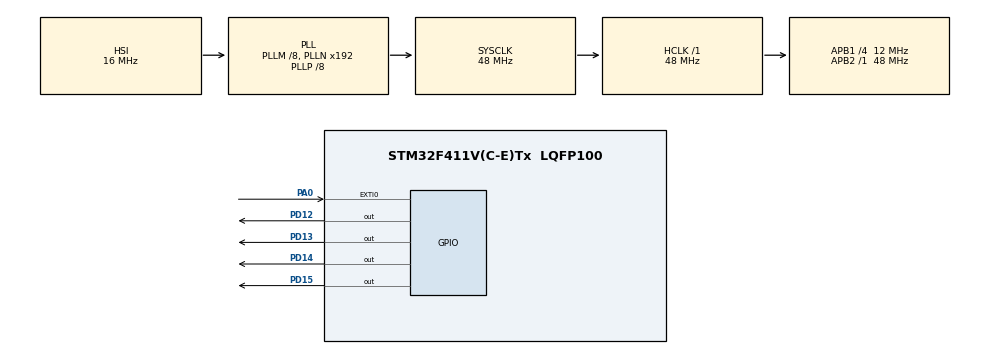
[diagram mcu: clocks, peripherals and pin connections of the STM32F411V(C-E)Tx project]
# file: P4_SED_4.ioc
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Mcu.Family=STM32F4
Mcu.Name=STM32F411V(C-E)Tx
Mcu.Package=LQFP100
NVIC.EXTI0_IRQn=true\:0\:0\:false\:false\:true\:true\:true\:true
NVIC.PriorityGroup=NVIC_PRIORITYGROUP_0
PA0-WKUP.Signal=GPXTI0
PD12.Signal=GPIO_Output
PD13.Signal=GPIO_Output
PD14.Signal=GPIO_Output
PD15.Signal=GPIO_Output
ProjectManager.HeapSize=0x200
ProjectManager.StackSize=0x400
ProjectManager.TargetToolchain=STM32CubeIDE
RCC.48MHZClocksFreq_Value=48000000
RCC.AHBFreq_Value=48000000
RCC.APB1CLKDivider=RCC_HCLK_DIV4
RCC.APB1Freq_Value=12000000
RCC.APB1TimFreq_Value=24000000
RCC.APB2Freq_Value=48000000
RCC.APB2TimFreq_Value=48000000
RCC.CortexFreq_Value=48000000
RCC.HCLKFreq_Value=48000000
RCC.HSE_VALUE=8000000
RCC.HSI_VALUE=16000000
RCC.PLLI2SM=5
RCC.PLLI2SN=200
RCC.PLLM=8
RCC.PLLP=RCC_PLLP_DIV8
RCC.PLLQ=8
RCC.SYSCLKFreq_VALUE=48000000
RCC.SYSCLKSource=RCC_SYSCLKSOURCE_PLLCLK
RCC.VCOOutputFreq_Value=384000000
board=STM32F411E-DISCO

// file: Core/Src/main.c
/* USER CODE BEGIN Header */
/**
  ******************************************************************************
  * @file           : main.c
  * @brief          : Main program body
  ******************************************************************************
  * @attention
  *
  * Copyright (c) 2023 STMicroelectronics.
  * All rights reserved.
  *
  * This software is licensed under terms that can be found in the LICENSE file
  * in the root directory of this software component.
  * If no LICENSE file comes with this software, it is provided AS-IS.
  *
  ******************************************************************************
  */
/* USER CODE END Header */
#include "main.h"

/* USER CODE BEGIN Includes */
#include <stdlib.h>
/* USER CODE END Includes */

void SystemClock_Config(void);
static void MX_GPIO_Init(void);

/* USER CODE BEGIN 0 */
volatile uint32_t contador[5];
volatile uint16_t flagPulsado = 0;
volatile uint32_t contadorAux = 0;
volatile int regionCritica = 1;
volatile uint16_t iteracion = 0;
volatile uint16_t media = 0;
volatile uint32_t suma = 0;

#define DEBOUNCE_DELAY 300

volatile uint32_t pressedTime = 0;

void HAL_GPIO_EXTI_Callback(uint16_t GPIO_Pin){
	if(GPIO_Pin == GPIO_PIN_0 && regionCritica == 0){
		uint32_t currentTime = HAL_GetTick();
		if (currentTime - pressedTime >= DEBOUNCE_DELAY){	//Ha pasado el tiempo de delay establecido
			contador[iteracion] = contadorAux;
			iteracion++;
			flagPulsado = 1;
		}
	}
}
/* USER CODE END 0 */

int main(void)
{

  /* MCU Configuration--------------------------------------------------------*/

  /* Reset of all peripherals, Initializes the Flash interface and the Systick. */
  HAL_Init();

  /* Configure the system clock */
  SystemClock_Config();

  /* Initialize all configured peripherals */
  MX_GPIO_Init();
  /* USER CODE BEGIN 2 */
  uint16_t tiempoEspera;
  /* USER CODE END 2 */

  /* Infinite loop */
  while (1)
  {

    /* USER CODE BEGIN 3 */
	contadorAux = 0;

	HAL_GPIO_WritePin(GPIOD, GPIO_PIN_12, 0);
  	HAL_GPIO_WritePin(GPIOD, GPIO_PIN_13, 0);
  	HAL_GPIO_WritePin(GPIOD, GPIO_PIN_14, 0);
  	HAL_GPIO_WritePin(GPIOD, GPIO_PIN_15, 0);

  	tiempoEspera = rand () % (2000+1) + 2000;
  	uint32_t tiempoAct = HAL_GetTick();

  	while(tiempoAct + tiempoEspera >= HAL_GetTick()){
  		HAL_NVIC_DisableIRQ(EXTI0_IRQn);
  	}
  	HAL_NVIC_EnableIRQ(EXTI0_IRQn);

  	HAL_GPIO_WritePin(GPIOD, GPIO_PIN_12, 1);
  	regionCritica = 0;

  	while (!flagPulsado){
  		if(HAL_GPIO_ReadPin(GPIOD, GPIO_PIN_0)){
  			HAL_GPIO_EXTI_Callback(GPIO_PIN_0);
  		}
  		else
  			contadorAux++;
  	}
  	regionCritica = 1;
  	HAL_GPIO_WritePin(GPIOD, GPIO_PIN_14, 1);
  	HAL_GPIO_WritePin(GPIOD, GPIO_PIN_12, 0);
  	HAL_Delay(5000);
  	flagPulsado = 0;

  	int i;
  	if(iteracion == 5){
  		for(i = 0; i<iteracion; i++){
  			suma += contador[i];
  		}
		media = suma / 5;
	}

  }
   /* USER CODE END 3 */
}

void SystemClock_Config(void)
{
  RCC_OscInitTypeDef RCC_OscInitStruct = {0};
  RCC_ClkInitTypeDef RCC_ClkInitStruct = {0};

  /** Configure the main internal regulator output voltage
  */
  __HAL_RCC_PWR_CLK_ENABLE();
  __HAL_PWR_VOLTAGESCALING_CONFIG(PWR_REGULATOR_VOLTAGE_SCALE1);

  /** Initializes the RCC Oscillators according to the specified parameters
  * in the RCC_OscInitTypeDef structure.
  */
  RCC_OscInitStruct.OscillatorType = RCC_OSCILLATORTYPE_HSI;
  RCC_OscInitStruct.HSIState = RCC_HSI_ON;
  RCC_OscInitStruct.HSICalibrationValue = RCC_HSICALIBRATION_DEFAULT;
  RCC_OscInitStruct.PLL.PLLState = RCC_PLL_ON;
  RCC_OscInitStruct.PLL.PLLSource = RCC_PLLSOURCE_HSI;
  RCC_OscInitStruct.PLL.PLLM = 8;
  RCC_OscInitStruct.PLL.PLLN = 192;
  RCC_OscInitStruct.PLL.PLLP = RCC_PLLP_DIV8;
  RCC_OscInitStruct.PLL.PLLQ = 8;
  if (HAL_RCC_OscConfig(&RCC_OscInitStruct) != HAL_OK)
  {
    Error_Handler();
  }

  /** Initializes the CPU, AHB and APB buses clocks
  */
  RCC_ClkInitStruct.ClockType = RCC_CLOCKTYPE_HCLK|RCC_CLOCKTYPE_SYSCLK
                              |RCC_CLOCKTYPE_PCLK1|RCC_CLOCKTYPE_PCLK2;
  RCC_ClkInitStruct.SYSCLKSource = RCC_SYSCLKSOURCE_PLLCLK;
  RCC_ClkInitStruct.AHBCLKDivider = RCC_SYSCLK_DIV1;
  RCC_ClkInitStruct.APB1CLKDivider = RCC_HCLK_DIV4;
  RCC_ClkInitStruct.APB2CLKDivider = RCC_HCLK_DIV1;

  if (HAL_RCC_ClockConfig(&RCC_ClkInitStruct, FLASH_LATENCY_1) != HAL_OK)
  {
    Error_Handler();
  }
}

static void MX_GPIO_Init(void)
{
  GPIO_InitTypeDef GPIO_InitStruct = {0};

  /* GPIO Ports Clock Enable */
  __HAL_RCC_GPIOA_CLK_ENABLE();
  __HAL_RCC_GPIOD_CLK_ENABLE();

  /*Configure GPIO pin Output Level */
  HAL_GPIO_WritePin(GPIOD, GPIO_PIN_12|GPIO_PIN_13|GPIO_PIN_14|GPIO_PIN_15, GPIO_PIN_RESET);

  /*Configure GPIO pin : PA0 */
  GPIO_InitStruct.Pin = GPIO_PIN_0;
  GPIO_InitStruct.Mode = GPIO_MODE_IT_RISING;
  GPIO_InitStruct.Pull = GPIO_NOPULL;
  HAL_GPIO_Init(GPIOA, &GPIO_InitStruct);

  /*Configure GPIO pins : PD12 PD13 PD14 PD15 */
  GPIO_InitStruct.Pin = GPIO_PIN_12|GPIO_PIN_13|GPIO_PIN_14|GPIO_PIN_15;
  GPIO_InitStruct.Mode = GPIO_MODE_OUTPUT_PP;
  GPIO_InitStruct.Pull = GPIO_NOPULL;
  GPIO_InitStruct.Speed = GPIO_SPEED_FREQ_LOW;
  HAL_GPIO_Init(GPIOD, &GPIO_InitStruct);

  /* EXTI interrupt init*/
  HAL_NVIC_SetPriority(EXTI0_IRQn, 0, 0);
  HAL_NVIC_EnableIRQ(EXTI0_IRQn);

}

void Error_Handler(void)
{
  __disable_irq();
  while (1)
  {
  }
}
